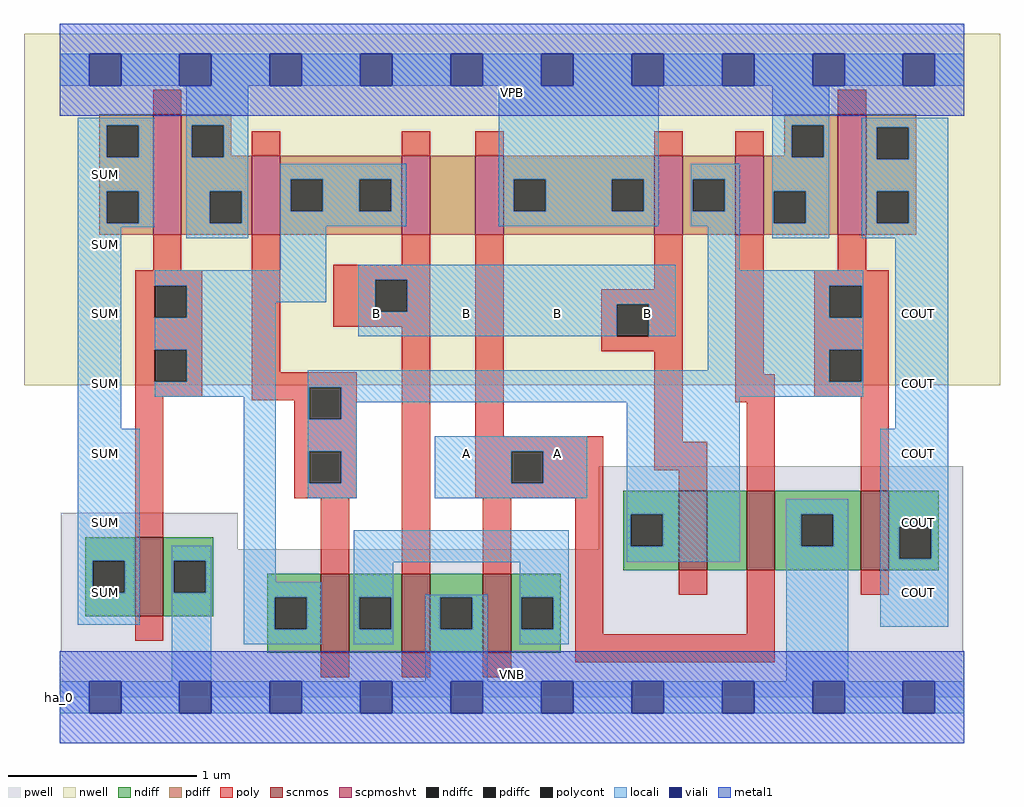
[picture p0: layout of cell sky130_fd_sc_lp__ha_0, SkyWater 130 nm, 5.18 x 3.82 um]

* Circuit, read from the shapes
.subckt sky130_fd_sc_lp__ha_0 A B VGND VNB VPB VPWR COUT SUM
XM1 VGND n1 SUM VNB sky130_fd_pr__nfet_01v8 w=0.42 l=0.15
XM2 n2 n3 n1 VNB sky130_fd_pr__nfet_01v8 w=0.42 l=0.15
XM3 VGND B n2 VNB sky130_fd_pr__nfet_01v8 w=0.42 l=0.15
XM4 n2 A VGND VNB sky130_fd_pr__nfet_01v8 w=0.42 l=0.15
XM5 n4 B n3 VNB sky130_fd_pr__nfet_01v8 w=0.42 l=0.15
XM6 VGND A n4 VNB sky130_fd_pr__nfet_01v8 w=0.42 l=0.15
XM7 COUT n3 VGND VNB sky130_fd_pr__nfet_01v8 w=0.42 l=0.15
XM8 VPWR n1 SUM VPB sky130_fd_pr__pfet_01v8_hvt w=0.64 l=0.15
XM9 n1 n3 VPWR VPB sky130_fd_pr__pfet_01v8_hvt w=0.42 l=0.15
XM10 n5 B n1 VPB sky130_fd_pr__pfet_01v8_hvt w=0.42 l=0.15
XM11 VPWR A n5 VPB sky130_fd_pr__pfet_01v8_hvt w=0.42 l=0.15
XM12 n3 B VPWR VPB sky130_fd_pr__pfet_01v8_hvt w=0.42 l=0.15
XM13 VPWR A n3 VPB sky130_fd_pr__pfet_01v8_hvt w=0.42 l=0.15
XM14 COUT n3 VPWR VPB sky130_fd_pr__pfet_01v8_hvt w=0.64 l=0.15
.ends

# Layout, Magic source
magic
tech sky130A
magscale 1 2
<< nwell >>
rect -38 331 998 704
<< pwell >>
rect 1 157 189 196
rect 572 157 959 245
rect 1 49 959 157
rect 0 0 960 49
<< scnmos >>
rect 80 86 110 170
rect 277 47 307 131
rect 363 47 393 131
rect 449 47 479 131
rect 657 135 687 219
rect 729 135 759 219
rect 850 135 880 219
<< scpmoshvt >>
rect 99 491 129 619
rect 204 491 234 575
rect 363 491 393 575
rect 441 491 471 575
rect 631 491 661 575
rect 717 491 747 575
rect 826 491 856 619
<< ndiff >>
rect 27 145 80 170
rect 27 111 35 145
rect 69 111 80 145
rect 27 86 80 111
rect 110 145 163 170
rect 110 111 121 145
rect 155 111 163 145
rect 110 86 163 111
rect 220 106 277 131
rect 220 72 228 106
rect 262 72 277 106
rect 220 47 277 72
rect 307 106 363 131
rect 307 72 318 106
rect 352 72 363 106
rect 307 47 363 72
rect 393 106 449 131
rect 393 72 404 106
rect 438 72 449 106
rect 393 47 449 72
rect 479 106 532 131
rect 479 72 490 106
rect 524 72 532 106
rect 479 47 532 72
rect 598 194 657 219
rect 598 160 606 194
rect 640 160 657 194
rect 598 135 657 160
rect 687 135 729 219
rect 759 194 850 219
rect 759 160 787 194
rect 821 160 850 194
rect 759 135 850 160
rect 880 181 933 219
rect 880 147 891 181
rect 925 147 933 181
rect 880 135 933 147
<< pdiff >>
rect 42 607 99 619
rect 42 573 50 607
rect 84 573 99 607
rect 42 537 99 573
rect 42 503 50 537
rect 84 503 99 537
rect 42 491 99 503
rect 129 607 182 619
rect 129 573 140 607
rect 174 575 182 607
rect 769 607 826 619
rect 769 575 777 607
rect 174 573 204 575
rect 129 537 204 573
rect 129 503 159 537
rect 193 503 204 537
rect 129 491 204 503
rect 234 550 363 575
rect 234 516 245 550
rect 279 516 318 550
rect 352 516 363 550
rect 234 491 363 516
rect 393 491 441 575
rect 471 550 631 575
rect 471 516 482 550
rect 516 516 586 550
rect 620 516 631 550
rect 471 491 631 516
rect 661 550 717 575
rect 661 516 672 550
rect 706 516 717 550
rect 661 491 717 516
rect 747 573 777 575
rect 811 573 826 607
rect 747 537 826 573
rect 747 503 758 537
rect 792 503 826 537
rect 747 491 826 503
rect 856 605 909 619
rect 856 571 867 605
rect 901 571 909 605
rect 856 537 909 571
rect 856 503 867 537
rect 901 503 909 537
rect 856 491 909 503
<< ndiffc >>
rect 35 111 69 145
rect 121 111 155 145
rect 228 72 262 106
rect 318 72 352 106
rect 404 72 438 106
rect 490 72 524 106
rect 606 160 640 194
rect 787 160 821 194
rect 891 147 925 181
<< pdiffc >>
rect 50 573 84 607
rect 50 503 84 537
rect 140 573 174 607
rect 159 503 193 537
rect 245 516 279 550
rect 318 516 352 550
rect 482 516 516 550
rect 586 516 620 550
rect 672 516 706 550
rect 777 573 811 607
rect 758 503 792 537
rect 867 571 901 605
rect 867 503 901 537
<< poly >>
rect 99 619 129 645
rect 826 619 856 645
rect 204 575 234 601
rect 363 575 393 601
rect 441 575 471 601
rect 631 575 661 601
rect 717 575 747 601
rect 99 453 129 491
rect 80 437 151 453
rect 80 403 101 437
rect 135 403 151 437
rect 80 369 151 403
rect 80 335 101 369
rect 135 335 151 369
rect 80 319 151 335
rect 204 345 234 491
rect 363 459 393 491
rect 290 443 393 459
rect 290 409 335 443
rect 369 409 393 443
rect 290 393 393 409
rect 204 329 315 345
rect 80 170 110 319
rect 204 315 265 329
rect 249 295 265 315
rect 299 295 315 329
rect 249 261 315 295
rect 249 227 265 261
rect 299 227 315 261
rect 249 211 315 227
rect 277 131 307 211
rect 363 131 393 393
rect 441 277 471 491
rect 631 433 661 491
rect 575 417 661 433
rect 575 383 591 417
rect 625 383 661 417
rect 575 367 661 383
rect 441 261 577 277
rect 441 227 479 261
rect 513 227 577 261
rect 631 271 661 367
rect 717 343 747 491
rect 826 453 856 491
rect 801 437 880 453
rect 801 403 817 437
rect 851 403 880 437
rect 801 369 880 403
rect 717 313 759 343
rect 801 335 817 369
rect 851 335 880 369
rect 801 319 880 335
rect 631 241 687 271
rect 441 211 577 227
rect 657 219 687 241
rect 729 219 759 313
rect 850 219 880 319
rect 449 131 479 211
rect 80 60 110 86
rect 547 67 577 211
rect 657 109 687 135
rect 729 67 759 135
rect 850 109 880 135
rect 277 21 307 47
rect 363 21 393 47
rect 449 21 479 47
rect 547 37 759 67
<< polycont >>
rect 101 403 135 437
rect 101 335 135 369
rect 335 409 369 443
rect 265 295 299 329
rect 265 227 299 261
rect 591 383 625 417
rect 479 227 513 261
rect 817 403 851 437
rect 817 335 851 369
<< locali >>
rect 0 649 31 683
rect 65 649 127 683
rect 161 649 223 683
rect 257 649 319 683
rect 353 649 415 683
rect 449 649 511 683
rect 545 649 607 683
rect 641 649 703 683
rect 737 649 799 683
rect 833 649 895 683
rect 929 649 960 683
rect 19 607 100 615
rect 19 573 50 607
rect 84 573 100 607
rect 19 537 100 573
rect 19 503 50 537
rect 84 503 100 537
rect 19 499 100 503
rect 134 607 200 649
rect 134 573 140 607
rect 174 573 200 607
rect 134 537 200 573
rect 134 503 159 537
rect 193 503 200 537
rect 19 285 65 499
rect 134 487 200 503
rect 234 550 368 566
rect 234 516 245 550
rect 279 516 318 550
rect 352 516 368 550
rect 234 500 368 516
rect 466 550 636 649
rect 756 607 817 649
rect 756 573 777 607
rect 811 573 817 607
rect 466 516 482 550
rect 516 516 586 550
rect 620 516 636 550
rect 466 500 636 516
rect 670 550 722 566
rect 670 516 672 550
rect 706 516 722 550
rect 670 500 722 516
rect 234 453 283 500
rect 101 437 283 453
rect 135 419 283 437
rect 317 443 654 459
rect 135 403 229 419
rect 101 369 229 403
rect 317 409 335 443
rect 369 417 654 443
rect 369 409 591 417
rect 317 383 591 409
rect 625 383 654 417
rect 688 453 722 500
rect 756 537 817 573
rect 756 503 758 537
rect 792 503 817 537
rect 756 487 817 503
rect 851 605 943 615
rect 851 571 867 605
rect 901 571 943 605
rect 851 537 943 571
rect 851 503 867 537
rect 901 503 943 537
rect 851 487 943 503
rect 688 437 853 453
rect 688 403 817 437
rect 851 403 853 437
rect 135 335 229 369
rect 688 369 853 403
rect 688 347 817 369
rect 101 319 229 335
rect 19 145 85 285
rect 19 111 35 145
rect 69 111 85 145
rect 19 77 85 111
rect 119 145 161 161
rect 119 111 121 145
rect 155 111 161 145
rect 119 17 161 111
rect 195 122 229 319
rect 263 335 817 347
rect 851 335 853 369
rect 263 329 853 335
rect 263 295 265 329
rect 299 319 853 329
rect 299 313 722 319
rect 299 295 315 313
rect 263 261 315 295
rect 263 227 265 261
rect 299 227 315 261
rect 263 211 315 227
rect 398 261 560 277
rect 398 227 479 261
rect 513 227 560 261
rect 398 211 560 227
rect 602 194 722 313
rect 887 285 943 487
rect 312 143 540 177
rect 602 160 606 194
rect 640 160 722 194
rect 602 144 722 160
rect 771 194 837 210
rect 771 160 787 194
rect 821 160 837 194
rect 195 106 278 122
rect 195 72 228 106
rect 262 72 278 106
rect 195 56 278 72
rect 312 106 354 143
rect 312 72 318 106
rect 352 72 354 106
rect 312 56 354 72
rect 388 106 454 109
rect 388 72 404 106
rect 438 72 454 106
rect 388 17 454 72
rect 488 106 540 143
rect 488 72 490 106
rect 524 72 540 106
rect 488 56 540 72
rect 771 17 837 160
rect 871 181 943 285
rect 871 147 891 181
rect 925 147 943 181
rect 871 75 943 147
rect 0 -17 31 17
rect 65 -17 127 17
rect 161 -17 223 17
rect 257 -17 319 17
rect 353 -17 415 17
rect 449 -17 511 17
rect 545 -17 607 17
rect 641 -17 703 17
rect 737 -17 799 17
rect 833 -17 895 17
rect 929 -17 960 17
<< viali >>
rect 31 649 65 683
rect 127 649 161 683
rect 223 649 257 683
rect 319 649 353 683
rect 415 649 449 683
rect 511 649 545 683
rect 607 649 641 683
rect 703 649 737 683
rect 799 649 833 683
rect 895 649 929 683
rect 31 -17 65 17
rect 127 -17 161 17
rect 223 -17 257 17
rect 319 -17 353 17
rect 415 -17 449 17
rect 511 -17 545 17
rect 607 -17 641 17
rect 703 -17 737 17
rect 799 -17 833 17
rect 895 -17 929 17
<< metal1 >>
rect 0 683 960 715
rect 0 649 31 683
rect 65 649 127 683
rect 161 649 223 683
rect 257 649 319 683
rect 353 649 415 683
rect 449 649 511 683
rect 545 649 607 683
rect 641 649 703 683
rect 737 649 799 683
rect 833 649 895 683
rect 929 649 960 683
rect 0 617 960 649
rect 0 17 960 49
rect 0 -17 31 17
rect 65 -17 127 17
rect 161 -17 223 17
rect 257 -17 319 17
rect 353 -17 415 17
rect 449 -17 511 17
rect 545 -17 607 17
rect 641 -17 703 17
rect 737 -17 799 17
rect 833 -17 895 17
rect 929 -17 960 17
rect 0 -49 960 -17
<< labels >>
flabel pwell s 0 0 960 49 0 FreeSans 200 0 0 0 VNB
port 4 nsew ground bidirectional
flabel nwell s 0 617 960 666 0 FreeSans 200 0 0 0 VPB
port 5 nsew power bidirectional
rlabel comment s 0 0 0 0 4 ha_0
flabel metal1 s 0 617 960 666 0 FreeSans 340 0 0 0 VPWR
port 6 nsew power bidirectional
flabel metal1 s 0 0 960 49 0 FreeSans 340 0 0 0 VGND
port 3 nsew ground bidirectional
flabel locali s 511 242 545 276 0 FreeSans 340 0 0 0 A
port 1 nsew signal input
flabel locali s 895 94 929 128 0 FreeSans 340 0 0 0 COUT
port 7 nsew signal output
flabel locali s 895 168 929 202 0 FreeSans 340 0 0 0 COUT
port 7 nsew signal output
flabel locali s 895 242 929 276 0 FreeSans 340 0 0 0 COUT
port 7 nsew signal output
flabel locali s 895 316 929 350 0 FreeSans 340 0 0 0 COUT
port 7 nsew signal output
flabel locali s 895 390 929 424 0 FreeSans 340 0 0 0 COUT
port 7 nsew signal output
flabel locali s 31 94 65 128 0 FreeSans 340 0 0 0 SUM
port 8 nsew signal output
flabel locali s 31 168 65 202 0 FreeSans 340 0 0 0 SUM
port 8 nsew signal output
flabel locali s 31 242 65 276 0 FreeSans 340 0 0 0 SUM
port 8 nsew signal output
flabel locali s 31 316 65 350 0 FreeSans 340 0 0 0 SUM
port 8 nsew signal output
flabel locali s 31 390 65 424 0 FreeSans 340 0 0 0 SUM
port 8 nsew signal output
flabel locali s 31 464 65 498 0 FreeSans 340 0 0 0 SUM
port 8 nsew signal output
flabel locali s 31 538 65 572 0 FreeSans 340 0 0 0 SUM
port 8 nsew signal output
flabel locali s 319 390 353 424 0 FreeSans 340 0 0 0 B
port 2 nsew signal input
flabel locali s 415 390 449 424 0 FreeSans 340 0 0 0 B
port 2 nsew signal input
flabel locali s 511 390 545 424 0 FreeSans 340 0 0 0 B
port 2 nsew signal input
flabel locali s 607 390 641 424 0 FreeSans 340 0 0 0 B
port 2 nsew signal input
flabel locali s 415 242 449 276 0 FreeSans 340 0 0 0 A
port 1 nsew signal input
<< properties >>
string LEFsite unit
string LEFclass CORE
string FIXED_BBOX 0 0 960 666
string GDS_FILE $PDKPATH/libs.ref/sky130_fd_sc_lp/gds/sky130_fd_sc_lp.gds
string LEFsymmetry X Y R90
string GDS_END 6713644
string GDS_START 6704430
<< end >>
